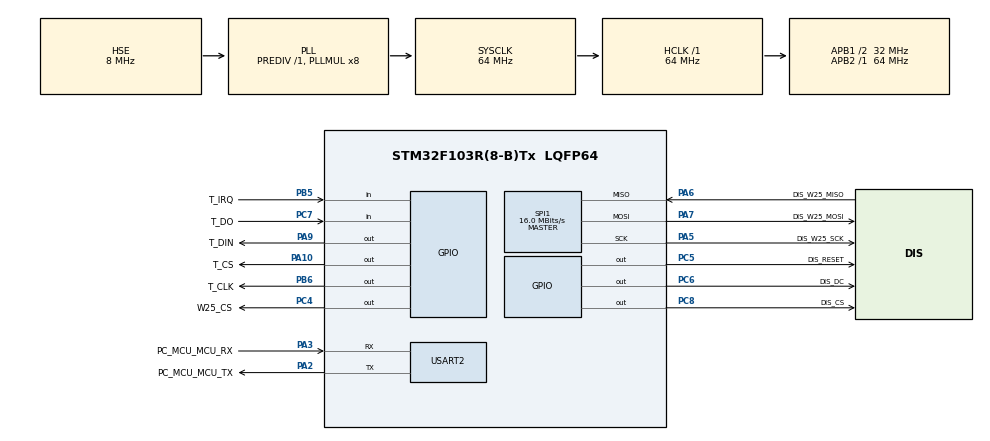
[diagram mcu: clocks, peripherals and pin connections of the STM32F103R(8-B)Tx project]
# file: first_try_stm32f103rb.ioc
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Mcu.Family=STM32F1
Mcu.Name=STM32F103R(8-B)Tx
Mcu.Package=LQFP64
NVIC.PriorityGroup=NVIC_PRIORITYGROUP_4
NVIC.USART2_IRQn=true\:0\:0\:false\:false\:true\:true\:true\:true
PA10.GPIO_Label=T_CS
PA10.GPIO_ModeDefaultOutputPP=GPIO_MODE_OUTPUT_PP
PA10.GPIO_PuPd=GPIO_NOPULL
PA10.PinState=GPIO_PIN_SET
PA10.Signal=GPIO_Output
PA13.Mode=Serial_Wire
PA13.Signal=SYS_JTMS-SWDIO
PA14.Mode=Serial_Wire
PA14.Signal=SYS_JTCK-SWCLK
PA2.GPIO_Label=PC_MCU_MCU_TX
PA2.Mode=Asynchronous
PA2.Signal=USART2_TX
PA3.GPIO_Label=PC_MCU_MCU_RX
PA3.GPIO_PuPd=GPIO_PULLUP
PA3.Mode=Asynchronous
PA3.Signal=USART2_RX
PA5.GPIO_Label=DIS_W25_SCK
PA5.Mode=Full_Duplex_Master
PA5.Signal=SPI1_SCK
PA6.GPIO_Label=DIS_W25_MISO
PA6.Mode=Full_Duplex_Master
PA6.Signal=SPI1_MISO
PA7.GPIO_Label=DIS_W25_MOSI
PA7.Mode=Full_Duplex_Master
PA7.Signal=SPI1_MOSI
PA9.GPIO_Label=T_DIN
PA9.Signal=GPIO_Output
PB5.GPIO_Label=T_IRQ
PB5.GPIO_PuPd=GPIO_PULLUP
PB5.Signal=GPIO_Input
PB6.GPIO_Label=T_CLK
PB6.GPIO_Speed=GPIO_SPEED_FREQ_HIGH
PB6.Signal=GPIO_Output
PC4.GPIO_Label=W25_CS
PC4.PinState=GPIO_PIN_SET
PC4.Signal=GPIO_Output
PC5.GPIO_Label=DIS_RESET
PC5.PinState=GPIO_PIN_SET
PC5.Signal=GPIO_Output
PC6.GPIO_Label=DIS_DC
PC6.PinState=GPIO_PIN_SET
PC6.Signal=GPIO_Output
PC7.GPIO_Label=T_DO
PC7.GPIO_PuPd=GPIO_PULLUP
PC7.Signal=GPIO_Input
PC8.GPIO_Label=DIS_CS
PC8.PinState=GPIO_PIN_SET
PC8.Signal=GPIO_Output
PD0-OSC_IN.Mode=HSE-External-Clock-Source
PD0-OSC_IN.Signal=RCC_OSC_IN
PD1-OSC_OUT.Mode=HSE-External-Clock-Source
PD1-OSC_OUT.Signal=RCC_OSC_OUT
ProjectManager.HeapSize=0x200
ProjectManager.StackSize=0x400
ProjectManager.TargetToolchain=STM32CubeIDE
RCC.AHBFreq_Value=64000000
RCC.APB1CLKDivider=RCC_HCLK_DIV2
RCC.APB1Freq_Value=32000000
RCC.APB1TimFreq_Value=64000000
RCC.APB2Freq_Value=64000000
RCC.APB2TimFreq_Value=64000000
RCC.HCLKFreq_Value=64000000
RCC.PLLMUL=RCC_PLL_MUL8
RCC.PLLSourceVirtual=RCC_PLLSOURCE_HSE
RCC.RTCClockSelection=RCC_RTCCLKSOURCE_LSE
RCC.SYSCLKFreq_VALUE=64000000
RCC.SYSCLKSource=RCC_SYSCLKSOURCE_PLLCLK
RCC.USBFreq_Value=64000000
SPI1.BaudRatePrescaler=SPI_BAUDRATEPRESCALER_4
SPI1.CalculateBaudRate=16.0 MBits/s
SPI1.DataSize=SPI_DATASIZE_8BIT
SPI1.Direction=SPI_DIRECTION_2LINES
SPI1.Mode=SPI_MODE_MASTER
SPI1.VirtualType=VM_MASTER
USART2.VirtualMode=VM_ASYNC
board=custom

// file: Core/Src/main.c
/* USER CODE BEGIN Header */
/**
 ******************************************************************************
 * @file           : main.c
 * @brief          : Main program body
 ******************************************************************************
 * @attention
 *
 * Copyright (c) 2026 STMicroelectronics.
 * All rights reserved.
 *
 * This software is licensed under terms that can be found in the LICENSE file
 * in the root directory of this software component.
 * If no LICENSE file comes with this software, it is provided AS-IS.
 *
 ******************************************************************************
 */
/* USER CODE END Header */
#include "main.h"
#include "spi.h"
#include "usart.h"
#include "gpio.h"

/* USER CODE BEGIN Includes */

#include "w25qxx_with_ILI9341.h"

#include "shell.h"
#include "delay.h"

#include "stdio.h"
#include "stdlib.h"

/* USER CODE END Includes */

/* USER CODE BEGIN PM */

#define DEBUG_ME 1

/* USER CODE END PM */

/* USER CODE BEGIN PV */

uint8_t g_buf[256];                        /**< uart buffer */
volatile uint16_t g_len;                   /**< uart buffer length */

/* USER CODE END PV */

void SystemClock_Config(void);

int main(void)
{

  /* MCU Configuration--------------------------------------------------------*/

  /* Reset of all peripherals, Initializes the Flash interface and the Systick. */
  HAL_Init();

  /* Configure the system clock */
  SystemClock_Config();

  /* Initialize all configured peripherals */
  MX_GPIO_Init();
  MX_SPI1_Init();
  MX_USART2_UART_Init();
  /* USER CODE BEGIN 2 */

  ILI9341_Init();
  SPI1_DeInit();

  /*
   * SPI 1을 볼 때, Init, 이용, Deinit 구조를 만족한다.
   * 앞으로 이 구조를 계속 유지해보고자 한다.
   */

  uint32_t  time_start =0;
  uint32_t  time_accumulate =0;

  /* USER CODE END 2 */

  /* Infinite loop */
	while (1)
	{

    /* USER CODE BEGIN 3 */
		//----------------------------------------------------------PERFORMANCE TEST
		static uint16_t x = 0;
		static uint16_t y = 0;

		uint8_t res;

		uint8_t some_GPIO_value =  GPIO_PIN_SET;
		/*
		 * SET 일시 사진 업로드 명령을 받을 수 있는 상태로 들어감
		 * RESET 일시 이미 되어있는 업로드를 기반으로 구동 상태로 들어감
		 */

		uart2_print("w25qxx: welcome to libdriver w25qxx.\n");

		if(some_GPIO_value ==  GPIO_PIN_RESET)
		{
			delay_init();
			shell_init();

			shell_register("w25qxx", w25qxx);

			/*
			char* test_string_1 = "w25qxx -e write --addr=0x100000 --data=0xAB";
			char* test_string_2 = "w25qxx -e read --addr=0x100000";
			char* test_string_3 = "w25qxx -e write --addr=0x100000 --data=0xCD";

			strncpy((char *)g_buf, test_string_1, strlen(test_string_1)+1);
			// strlen(g_buf) 가 제대로 동작하기 위해서는, 문자열 끝에 \0 문자가 들어와 있어야 한다.
			res = shell_parse((char *)g_buf, strlen((char *)g_buf));

			strncpy((char *)g_buf, test_string_2, strlen(test_string_1)+1);
			res = shell_parse((char *)g_buf, strlen((char *)g_buf));

			strncpy((char *)g_buf, test_string_3, strlen(test_string_1)+1);
			res = shell_parse((char *)g_buf, strlen((char *)g_buf));

			strncpy((char *)g_buf, test_string_2, strlen(test_string_1)+1);
			res = shell_parse((char *)g_buf, strlen((char *)g_buf));
			*/

			while (1)
			{
				/* read uart */
				g_len = uart_read(g_buf, 256, &g_uart2_handle);
				if (g_len != 0)
				{
					/* run shell */
					uart2_print("%s\n", g_buf);
					res = shell_parse((char *)g_buf, g_len);
					memset(g_buf,0, sizeof(g_buf));

					if (res == 0)
					{
						/* run success */
					}
					else if (res == 1)
					{
						uart2_print("w25qxx: run failed.\n");
					}
					else if (res == 2)
					{
						uart2_print("w25qxx: unknown command.\n");

					}
					else if (res == 3)
					{
						uart2_print("w25qxx: length is too long.\n");
					}
					else if (res == 4)
					{
						uart2_print("w25qxx: pretreat failed.\n");
					}
					else if (res == 5)
					{
						uart2_print("w25qxx: param is invalid.\n");
					}
					else
					{
						uart2_print("w25qxx: unknown status code.\n");
					}
					uart2_flush();
				}
				delay_ms(100);
			}
		}
		else
		{
#ifndef DEBUG_ME
			ILI9341_Fill_Screen(RED);
			ILI9341_Set_Rotation(SCREEN_HORIZONTAL_2);
			ILI9341_Draw_Text("FPS TEST, 40 loop 2 screens", 10, 10, BLACK, 1, WHITE);
			HAL_Delay(2000);
			ILI9341_Fill_Screen(WHITE);

			/*
			 * uint32_t Timer_Counter = 0;
			 */

			for (uint32_t j = 0; j < 2; j++)
			{
				time_start = HAL_GetTick();
				/*
				 * HAL_TIM_Base_Start(&htim1);
				 */

				for (uint16_t i = 0; i < 10; i++)
				{
					ILI9341_Fill_Screen(WHITE);
					ILI9341_Fill_Screen(BLACK);
				}

				//20.000 per second!

				time_accumulate += HAL_GetTick() - time_start;

				/*
				 HAL_TIM_Base_Stop(&htim1);
				 Timer_Counter += __HAL_TIM_GET_COUNTER(&htim1);
				 __HAL_TIM_SET_COUNTER(&htim1, 0);
				 */

			}

			char counter_buff[30];
			ILI9341_Fill_Screen(WHITE);
			ILI9341_Set_Rotation(SCREEN_HORIZONTAL_2);
			sprintf(counter_buff, "Elapsed Time(ms) : %d", time_accumulate);
			ILI9341_Draw_Text(counter_buff, 10, 10, BLACK, 1, WHITE);

			double seconds_passed = time_accumulate / 1000;
			sprintf(counter_buff, "Time: %.3f Sec", seconds_passed);
			ILI9341_Draw_Text(counter_buff, 10, 30, BLACK, 2, WHITE);

			double timer_float = 40 / ( time_accumulate / 1000); //Frames per sec

			sprintf(counter_buff, "FPS:  %.2f", timer_float);
			ILI9341_Draw_Text(counter_buff, 10, 50, BLACK, 2, WHITE);

			double MB_PS = timer_float * 240 * 320 * 2 / 1000000;
			sprintf(counter_buff, "MB/S: %.2f", MB_PS);
			ILI9341_Draw_Text(counter_buff, 10, 70, BLACK, 2, WHITE);

			/*
			 *  (n 장 / 1초)   *  (240 * 320 pixel  / 1장)  *  (2byte /1 pixel)   *   (1MB / 1000000Byte)
			 *     = n MB / 초
			 */

			double SPI_utilized_percentage = (MB_PS / (6.25)) * 100;//50mbits / 8 bits
			sprintf(counter_buff, "SPI Utilized: %.2f", SPI_utilized_percentage);
			ILI9341_Draw_Text(counter_buff, 10, 90, BLACK, 2, WHITE);

			/*
			 *  SPI 의 최대 통신 가능 MB/s 는 6.25 MB/s 이다.  이것과 얼마나 가까운지를 비율로 표현
			 */

			HAL_Delay(10000);
			/*
			 Timer_Counter /= 2;

			 char counter_buff[30];
			 ILI9341_Fill_Screen(WHITE);
			 ILI9341_Set_Rotation(SCREEN_HORIZONTAL_2);
			 sprintf(counter_buff, "Timer counter value: %d", Timer_Counter * 2);
			 ILI9341_Draw_Text(counter_buff, 10, 10, BLACK, 1, WHITE);

			 double seconds_passed = 2 * ((float) Timer_Counter / 20000);
			 sprintf(counter_buff, "Time: %.3f Sec", seconds_passed);
			 ILI9341_Draw_Text(counter_buff, 10, 30, BLACK, 2, WHITE);

			 double timer_float = 20 / (((float) Timer_Counter) / 20000);//Frames per sec

			 sprintf(counter_buff, "FPS:  %.2f", timer_float);
			 ILI9341_Draw_Text(counter_buff, 10, 50, BLACK, 2, WHITE);
			 double MB_PS = timer_float * 240 * 320 * 2 / 1000000;
			 sprintf(counter_buff, "MB/S: %.2f", MB_PS);
			 ILI9341_Draw_Text(counter_buff, 10, 70, BLACK, 2, WHITE);
			 double SPI_utilized_percentage = (MB_PS / (6.25)) * 100;//50mbits / 8 bits
			 sprintf(counter_buff, "SPI Utilized: %.2f", SPI_utilized_percentage);
			 ILI9341_Draw_Text(counter_buff, 10, 90, BLACK, 2, WHITE);
			 HAL_Delay(10000);

			 */

			char Temp_Buffer_text[40];

			//----------------------------------------------------------COUNTING MULTIPLE SEGMENTS
			ILI9341_Fill_Screen(WHITE);
			ILI9341_Set_Rotation(SCREEN_HORIZONTAL_2);
			ILI9341_Draw_Text("Counting multiple segments at once", 10, 10, BLACK, 1, WHITE);
			HAL_Delay(2000);
			ILI9341_Fill_Screen(WHITE);

			for (uint16_t i = 0; i <= 10; i++)
			{
				sprintf(Temp_Buffer_text, "Counting: %d", i);
				ILI9341_Draw_Text(Temp_Buffer_text, 10, 10, BLACK, 2, WHITE);
				ILI9341_Draw_Text(Temp_Buffer_text, 10, 30, BLUE, 2, WHITE);
				ILI9341_Draw_Text(Temp_Buffer_text, 10, 50, RED, 2, WHITE);
				ILI9341_Draw_Text(Temp_Buffer_text, 10, 70, GREEN, 2, WHITE);
				ILI9341_Draw_Text(Temp_Buffer_text, 10, 90, BLACK, 2, WHITE);
				ILI9341_Draw_Text(Temp_Buffer_text, 10, 110, BLUE, 2, WHITE);
				ILI9341_Draw_Text(Temp_Buffer_text, 10, 130, RED, 2, WHITE);
				ILI9341_Draw_Text(Temp_Buffer_text, 10, 150, GREEN, 2, WHITE);
				ILI9341_Draw_Text(Temp_Buffer_text, 10, 170, WHITE, 2, BLACK);
				ILI9341_Draw_Text(Temp_Buffer_text, 10, 190, BLUE, 2, BLACK);
				ILI9341_Draw_Text(Temp_Buffer_text, 10, 210, RED, 2, BLACK);
			}

			HAL_Delay(1000);

			//----------------------------------------------------------COUNTING SINGLE SEGMENT
			ILI9341_Fill_Screen(WHITE);
			ILI9341_Set_Rotation(SCREEN_HORIZONTAL_2);
			ILI9341_Draw_Text("Counting single segment", 10, 10, BLACK, 1, WHITE);
			HAL_Delay(2000);
			ILI9341_Fill_Screen(WHITE);

			for (uint16_t i = 0; i <= 100; i++)
			{
				sprintf(Temp_Buffer_text, "Counting: %d", i);
				ILI9341_Draw_Text(Temp_Buffer_text, 10, 10, BLACK, 3, WHITE);
			}

			HAL_Delay(1000);

			//----------------------------------------------------------ALIGNMENT TEST
			ILI9341_Fill_Screen(WHITE);
			ILI9341_Set_Rotation(SCREEN_HORIZONTAL_2);
			ILI9341_Draw_Text("Rectangle alignment check", 10, 10, BLACK, 1, WHITE);
			HAL_Delay(2000);
			ILI9341_Fill_Screen(WHITE);

			ILI9341_Draw_Hollow_Rectangle_Coord(50, 50, 100, 100, BLACK);
			ILI9341_Draw_Filled_Rectangle_Coord(20, 20, 50, 50, BLACK);
			ILI9341_Draw_Hollow_Rectangle_Coord(10, 10, 19, 19, BLACK);
			HAL_Delay(1000);

			//----------------------------------------------------------LINES EXAMPLE
			ILI9341_Fill_Screen(WHITE);
			ILI9341_Set_Rotation(SCREEN_HORIZONTAL_2);
			ILI9341_Draw_Text("Randomly placed and sized", 10, 10, BLACK, 1, WHITE);
			ILI9341_Draw_Text("Horizontal and Vertical lines", 10, 20, BLACK, 1, WHITE);
			HAL_Delay(2000);
			ILI9341_Fill_Screen(WHITE);

			srand(HAL_GetTick());

			for (uint32_t i = 0; i < 10000; i++)
			{
				/*
				 * uint32_t random_num = 0;
				 */
				uint16_t xr = 0;
				uint16_t yr = 0;
				uint16_t radiusr = 0;
				uint16_t colourr = 0;

				xr = rand();
				yr = rand();
				radiusr = rand();
				colourr = rand();

				xr %= 320;
				yr %= 240;
				radiusr &= 0x001F;
				ILI9341_Draw_Horizontal_Line(xr, yr, radiusr, colourr);
				ILI9341_Draw_Vertical_Line(xr, yr, radiusr, colourr);

				/*
				 random_num = HAL_RNG_GetRandomNumber(&hrng);
				 xr = random_num;
				 random_num = HAL_RNG_GetRandomNumber(&hrng);
				 yr = random_num;
				 random_num = HAL_RNG_GetRandomNumber(&hrng);
				 radiusr = random_num;
				 random_num = HAL_RNG_GetRandomNumber(&hrng);
				 colourr = random_num;

				 xr &= 0x01FF;
				 yr &= 0x01FF;
				 radiusr &= 0x001F;
				 //ili9341_drawpixel(xr, yr, WHITE);
				 ILI9341_Draw_Horizontal_Line(xr, yr, radiusr, colourr);
				 ILI9341_Draw_Vertical_Line(xr, yr, radiusr, colourr);

				 */

			}

			HAL_Delay(1000);

			//----------------------------------------------------------HOLLOW CIRCLES EXAMPLE
			ILI9341_Fill_Screen(WHITE);
			ILI9341_Set_Rotation(SCREEN_HORIZONTAL_2);
			ILI9341_Draw_Text("Randomly placed and sized", 10, 10, BLACK, 1, WHITE);
			ILI9341_Draw_Text("Circles", 10, 20, BLACK, 1, WHITE);
			HAL_Delay(2000);
			ILI9341_Fill_Screen(WHITE);

			for (uint32_t i = 0; i < 3000; i++)
			{
				/*
				 uint32_t random_num = 0;
				 */

				uint16_t xr = 0;
				uint16_t yr = 0;
				uint16_t radiusr = 0;
				uint16_t colourr = 0;

				xr = rand();
				yr = rand();
				radiusr = rand();
				colourr = rand();

				/*
				 random_num = HAL_RNG_GetRandomNumber(&hrng);
				 xr = random_num;
				 random_num = HAL_RNG_GetRandomNumber(&hrng);
				 yr = random_num;
				 random_num = HAL_RNG_GetRandomNumber(&hrng);
				 radiusr = random_num;
				 random_num = HAL_RNG_GetRandomNumber(&hrng);
				 colourr = random_num;
				 */

				xr &= 0x01FF;
				yr &= 0x01FF;
				radiusr &= 0x001F;
				//ili9341_drawpixel(xr, yr, WHITE);
				ILI9341_Draw_Hollow_Circle(xr, yr, radiusr * 2, colourr);

			}
			HAL_Delay(1000);

			//----------------------------------------------------------FILLED CIRCLES EXAMPLE
			ILI9341_Fill_Screen(WHITE);
			ILI9341_Set_Rotation(SCREEN_HORIZONTAL_2);
			ILI9341_Draw_Text("Randomly placed and sized", 10, 10, BLACK, 1, WHITE);
			ILI9341_Draw_Text("Filled Circles", 10, 20, BLACK, 1, WHITE);
			HAL_Delay(2000);
			ILI9341_Fill_Screen(WHITE);

			for (uint32_t i = 0; i < 1000; i++)
			{
				/*
				 uint32_t random_num = 0;
				 */

				uint16_t xr = 0;
				uint16_t yr = 0;
				uint16_t radiusr = 0;
				uint16_t colourr = 0;

				xr = rand();
				yr = rand();
				radiusr = rand();
				colourr = rand();

				/*
				 random_num = HAL_RNG_GetRandomNumber(&hrng);
				 xr = random_num;
				 random_num = HAL_RNG_GetRandomNumber(&hrng);
				 yr = random_num;
				 random_num = HAL_RNG_GetRandomNumber(&hrng);
				 radiusr = random_num;
				 random_num = HAL_RNG_GetRandomNumber(&hrng);
				 colourr = random_num;
				 */

				xr &= 0x01FF;
				yr &= 0x01FF;
				radiusr &= 0x001F;
				//ili9341_drawpixel(xr, yr, WHITE);
				ILI9341_Draw_Filled_Circle(xr, yr, radiusr / 2, colourr);
			}

			HAL_Delay(1000);

			//----------------------------------------------------------HOLLOW RECTANGLES EXAMPLE
			ILI9341_Fill_Screen(WHITE);
			ILI9341_Set_Rotation(SCREEN_HORIZONTAL_2);
			ILI9341_Draw_Text("Randomly placed and sized", 10, 10, BLACK, 1, WHITE);
			ILI9341_Draw_Text("Rectangles", 10, 20, BLACK, 1, WHITE);
			HAL_Delay(2000);
			ILI9341_Fill_Screen(WHITE);

			for (uint32_t i = 0; i < 20000; i++)
			{
				/*
				 uint32_t random_num = 0;
				 */

				uint16_t xr = 0;
				uint16_t yr = 0;
				uint16_t radiusr = 0;
				uint16_t colourr = 0;

				xr = rand();
				yr = rand();
				radiusr = rand();
				colourr = rand();

				/*
				 random_num = HAL_RNG_GetRandomNumber(&hrng);
				 xr = random_num;
				 random_num = HAL_RNG_GetRandomNumber(&hrng);
				 yr = random_num;
				 random_num = HAL_RNG_GetRandomNumber(&hrng);
				 radiusr = random_num;
				 random_num = HAL_RNG_GetRandomNumber(&hrng);
				 colourr = random_num;
				 */

				xr &= 0x01FF;
				yr &= 0x01FF;
				radiusr &= 0x001F;
				//ili9341_drawpixel(xr, yr, WHITE);
				ILI9341_Draw_Hollow_Rectangle_Coord(xr, yr, xr + radiusr,
						yr + radiusr, colourr);
			}
			HAL_Delay(1000);

			//----------------------------------------------------------FILLED RECTANGLES EXAMPLE
			ILI9341_Fill_Screen(WHITE);
			ILI9341_Set_Rotation(SCREEN_HORIZONTAL_2);
			ILI9341_Draw_Text("Randomly placed and sized", 10, 10, BLACK, 1, WHITE);
			ILI9341_Draw_Text("Filled Rectangles", 10, 20, BLACK, 1, WHITE);
			HAL_Delay(2000);
			ILI9341_Fill_Screen(WHITE);

			for (uint32_t i = 0; i < 20000; i++)
			{
				/*
				 uint32_t random_num = 0;
				 */

				uint16_t xr = 0;
				uint16_t yr = 0;
				uint16_t radiusr = 0;
				uint16_t colourr = 0;

				xr = rand();
				yr = rand();
				radiusr = rand();
				colourr = rand();

				/*
				 random_num = HAL_RNG_GetRandomNumber(&hrng);
				 xr = random_num;
				 random_num = HAL_RNG_GetRandomNumber(&hrng);
				 yr = random_num;
				 random_num = HAL_RNG_GetRandomNumber(&hrng);
				 radiusr = random_num;
				 random_num = HAL_RNG_GetRandomNumber(&hrng);
				 colourr = random_num;
				 */

				xr &= 0x01FF;
				yr &= 0x01FF;
				radiusr &= 0x001F;
				//ili9341_drawpixel(xr, yr, WHITE);
				ILI9341_Draw_Rectangle(xr, yr, radiusr, radiusr, colourr);
			}
			HAL_Delay(1000);

			//----------------------------------------------------------INDIVIDUAL PIXEL EXAMPLE

			ILI9341_Fill_Screen(WHITE);
			ILI9341_Set_Rotation(SCREEN_HORIZONTAL_2);
			ILI9341_Draw_Text("Slow draw by selecting", 10, 10, BLACK, 1, WHITE);
			ILI9341_Draw_Text("and adressing pixels", 10, 20, BLACK, 1, WHITE);
			HAL_Delay(2000);
			ILI9341_Fill_Screen(WHITE);

			x = 0;
			y = 0;
			while (y < 240)
			{
				while ((x < 320) && (y < 240))
				{

					if (x % 2)
					{
						ILI9341_Draw_Pixel(x, y, BLACK);
					}

					x++;
				}

				y++;
				x = 0;
			}

			x = 0;
			y = 0;

			while (y < 240)
			{
				while ((x < 320) && (y < 240))
				{

					if (y % 2)
					{
						ILI9341_Draw_Pixel(x, y, BLACK);
					}

					x++;
				}

				y++;
				x = 0;
			}
			HAL_Delay(2000);

			//----------------------------------------------------------INDIVIDUAL PIXEL EXAMPLE
			/*
			 ILI9341_Fill_Screen(WHITE);
			 ILI9341_Set_Rotation(SCREEN_HORIZONTAL_2);
			 ILI9341_Draw_Text("Random position and colour", 10, 10, BLACK, 1,
			 WHITE);
			 ILI9341_Draw_Text("500000 pixels", 10, 20, BLACK, 1, WHITE);
			 HAL_Delay(2000);
			 ILI9341_Fill_Screen(WHITE);

			 for (uint32_t i = 0; i < 500000; i++)
			 {
			 uint32_t random_num = 0;
			 uint16_t xr = 0;
			 uint16_t yr = 0;
			 random_num = HAL_RNG_GetRandomNumber(&hrng);
			 xr = random_num;
			 random_num = HAL_RNG_GetRandomNumber(&hrng);
			 yr = random_num;
			 uint16_t color = HAL_RNG_GetRandomNumber(&hrng);

			 xr &= 0x01FF;
			 yr &= 0x01FF;
			 ILI9341_Draw_Pixel(xr, yr, color);
			 }
			 HAL_Delay(2000);
			 */

			//----------------------------------------------------------565 COLOUR EXAMPLE, Grayscale
			ILI9341_Fill_Screen(WHITE);
			ILI9341_Set_Rotation(SCREEN_HORIZONTAL_2);
			ILI9341_Draw_Text("Colour gradient", 10, 10, BLACK, 1, WHITE);
			ILI9341_Draw_Text("Grayscale", 10, 20, BLACK, 1, WHITE);
			HAL_Delay(2000);

			for (uint16_t i = 0; i <= (320); i++)
			{
				uint16_t Red = 0;
				uint16_t Green = 0;
				uint16_t Blue = 0;

				Red = i / (10);
				Red <<= 11;
				Green = i / (5);
				Green <<= 5;
				Blue = i / (10);

				uint16_t RGB_color = Red + Green + Blue;
				ILI9341_Draw_Rectangle(i, x, 1, 240, RGB_color);

			}
			HAL_Delay(2000);
#endif

			//----------------------------------------------------------IMAGE EXAMPLE, Snow Tiger

			MX_SPI1_Init();
			ILI9341_Fill_Screen(WHITE);
			ILI9341_Set_Rotation(SCREEN_HORIZONTAL_2);
			ILI9341_Draw_Text("Loading Up snow_Tiger and others", 10, 10, BLACK, 1, WHITE);
			SPI1_DeInit();

			/*
			 *  여기서 또한 SPI1을 초기화 한후, 이용하고, deinit 까지 거친다.
			 *  deinit 까지 안한 상태로 냅둬도 되지만, 아래 함수인 W25QXX_WITH_ILI9341_Draw_Image에서 자체적으로
			 *  init 과정이 존재한다.   따라서 deinit 까지 해서, init에 문제없도록 말끔히 정리
			 */

			HAL_Delay(2000);

			res = W25QXX_WITH_ILI9341_Draw_Image(0x100000, SCREEN_VERTICAL_2);
			if(res == 1)
			{
				uart2_print("there was an error while initing w25qxx - snow tiger\n");
			}
			else if(res == 2)
			{
				uart2_print("there was an error while receiving info from w25qxx -snow tiger\n");
			}
			else  // return 0;
			{
				uart2_print("finished uploading snow tiger\n");
			}

			while(1)
			{
				res = W25QXX_WITH_ILI9341_Draw_Image(0x100000, SCREEN_VERTICAL_2);
				res = W25QXX_WITH_ILI9341_Draw_Image(0x130000, SCREEN_VERTICAL_2);
				res = W25QXX_WITH_ILI9341_Draw_Image(0x160000, SCREEN_VERTICAL_2);
				res = W25QXX_WITH_ILI9341_Draw_Image(0x190000, SCREEN_VERTICAL_2);
				res = W25QXX_WITH_ILI9341_Draw_Image(0x1C0000, SCREEN_VERTICAL_2);
				res = W25QXX_WITH_ILI9341_Draw_Image(0x1F0000, SCREEN_VERTICAL_2);
				res = W25QXX_WITH_ILI9341_Draw_Image(0x220000, SCREEN_VERTICAL_2);
				HAL_Delay(500);
			}

		}

		HAL_Delay(30000);

		/*
		 ILI9341_Draw_Image((const char*) snow_tiger, SCREEN_VERTICAL_2);
		 ILI9341_Set_Rotation(SCREEN_VERTICAL_1);
		 HAL_Delay(10000);

		 *  용량 문제로 snow Tiger를 담을 수 없음.
		 *
		 */

		//----------------------------------------------------------TOUCHSCREEN EXAMPLE
		MX_SPI1_Init();

		ILI9341_Fill_Screen(WHITE);
		ILI9341_Set_Rotation(SCREEN_HORIZONTAL_2);
		ILI9341_Draw_Text("Touchscreen", 10, 10, BLACK, 2, WHITE);
		ILI9341_Draw_Text("Touch to draw", 10, 30, BLACK, 2, WHITE);
		ILI9341_Set_Rotation(SCREEN_VERTICAL_1);

		HAL_GPIO_WritePin(DIS_CS_GPIO_Port, DIS_CS_Pin, GPIO_PIN_SET);
		HAL_GPIO_WritePin(T_CS_GPIO_Port, T_CS_Pin, GPIO_PIN_SET);

		/*
		 *  Polling 방식으로 터치 검사
		 */

		while (1)
		{

			for (int i=0; i<5; i++);

			if (TP_Touchpad_Pressed())   //  T_IRQ 라 이름붙은 포트, 핀을 상시 검사
			{
				uint16_t x_pos = 0;
				uint16_t y_pos = 0;

				/*
				HAL_GPIO_WritePin(GPIOB, LD3_Pin | LD2_Pin, GPIO_PIN_SET);  //  보드 위 LED, 디스플레의 LED를 건드는 것 같음
				 */

				uint16_t position_array[2];

				if (TP_Read_Coordinates(position_array) == TOUCHPAD_DATA_OK)
				{
					x_pos = position_array[0];
					y_pos = position_array[1];
					ILI9341_Draw_Filled_Circle(x_pos, y_pos, 10, BLACK);

					ILI9341_Set_Rotation(SCREEN_HORIZONTAL_2);
					char counter_buff[30];
					sprintf(counter_buff, "POS X: %.3d", x_pos);
					ILI9341_Draw_Text(counter_buff, 10, 80, BLACK, 2, WHITE);
					sprintf(counter_buff, "POS Y: %.3d", y_pos);
					ILI9341_Draw_Text(counter_buff, 10, 120, BLACK, 2, WHITE);
					ILI9341_Set_Rotation(SCREEN_VERTICAL_1);
				}

				//ILI9341_Draw_Pixel(x_pos, y_pos, BLACK);

			}
			else
			{
				 // HAL_GPIO_WritePin(GPIOB, LD3_Pin | LD2_Pin, GPIO_PIN_RESET);

			}

		}

	}

  /* USER CODE END 3 */
}

void SystemClock_Config(void)
{
  RCC_OscInitTypeDef RCC_OscInitStruct = {0};
  RCC_ClkInitTypeDef RCC_ClkInitStruct = {0};

  /** Initializes the RCC Oscillators according to the specified parameters
  * in the RCC_OscInitTypeDef structure.
  */
  RCC_OscInitStruct.OscillatorType = RCC_OSCILLATORTYPE_HSE;
  RCC_OscInitStruct.HSEState = RCC_HSE_BYPASS;
  RCC_OscInitStruct.HSEPredivValue = RCC_HSE_PREDIV_DIV1;
  RCC_OscInitStruct.HSIState = RCC_HSI_ON;
  RCC_OscInitStruct.PLL.PLLState = RCC_PLL_ON;
  RCC_OscInitStruct.PLL.PLLSource = RCC_PLLSOURCE_HSE;
  RCC_OscInitStruct.PLL.PLLMUL = RCC_PLL_MUL8;
  if (HAL_RCC_OscConfig(&RCC_OscInitStruct) != HAL_OK)
  {
    Error_Handler();
  }

  /** Initializes the CPU, AHB and APB buses clocks
  */
  RCC_ClkInitStruct.ClockType = RCC_CLOCKTYPE_HCLK|RCC_CLOCKTYPE_SYSCLK
                              |RCC_CLOCKTYPE_PCLK1|RCC_CLOCKTYPE_PCLK2;
  RCC_ClkInitStruct.SYSCLKSource = RCC_SYSCLKSOURCE_PLLCLK;
  RCC_ClkInitStruct.AHBCLKDivider = RCC_SYSCLK_DIV1;
  RCC_ClkInitStruct.APB1CLKDivider = RCC_HCLK_DIV2;
  RCC_ClkInitStruct.APB2CLKDivider = RCC_HCLK_DIV1;

  if (HAL_RCC_ClockConfig(&RCC_ClkInitStruct, FLASH_LATENCY_2) != HAL_OK)
  {
    Error_Handler();
  }
}

void Error_Handler(void)
{
		__disable_irq();
		while (1)
		{
		}
}
